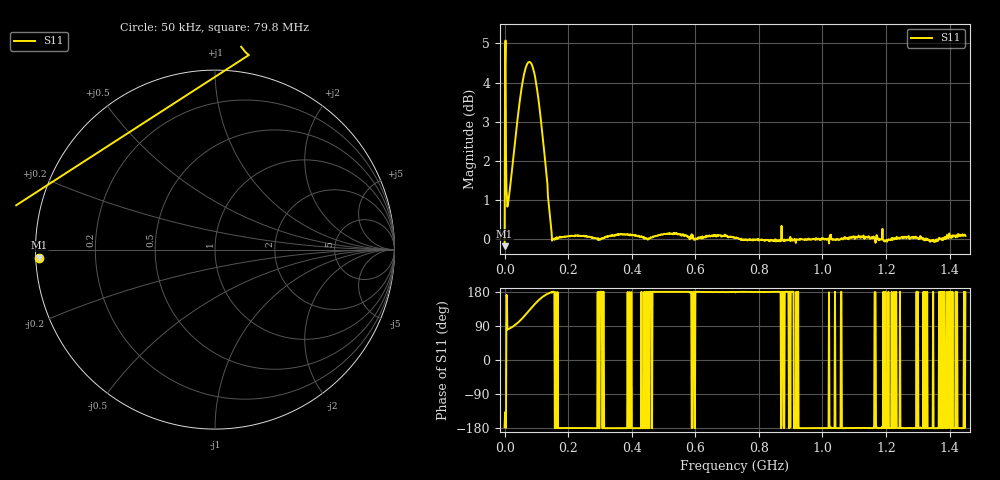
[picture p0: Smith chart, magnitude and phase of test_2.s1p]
! Created with skrf 1.11.0 (http://scikit-rf.org).
# Hz S RI R 50.0
!freq ReS11 ImS11
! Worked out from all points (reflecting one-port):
!   1001 points, 50 kHz to 1.45 GHz, reference 50 ohm
!   lowest |S11| = -0.2 dB at 50 kHz (marker M1), VSWR 98.86, Z = 0.506 - j1.14 ohm
!   phase of S11 starts at -177 deg and turns -4 deg over the sweep
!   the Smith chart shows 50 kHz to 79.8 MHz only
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50000  -0.9789 -0.0448
8749700  0.1891 1.084
1.019965e7  0.1783 1.092
1.16496e7  0.1672 1.103
1.599945e7  0.1352 1.144
2.61491e7  0.0392 1.254
3.48488e7  -0.0821 1.352
4.35485e7  -0.2456 1.435
5.369815e7  -0.4886 1.484
6.38478e7  -0.7585 1.456
7.399745e7  -1.02 1.336
8.7047e7  -1.277 1.07
9.28468e7  -1.347 0.9244
9.86466e7  -1.386 0.7761
1.073463e8  -1.391 0.563
1.17496e8  -1.335 0.3528
1.261956e8  -1.259 0.2125
1.363453e8  -1.132 0.0991
1.43595e8  -1.061 0.0421
1.522948e8  -1.001 0.00085
1.812938e8  -1.007 -0.00664
3.625375e8  -1.014 -0.00362
5.437812e8  -1.016 0.005
7.25025e8  -1.004 0.00754
9.062688e8  -0.996 0.000332
1.087512e9  -1.005 -0.014
1.268756e9  -1.007 -0.0116
1.45e9  -1.01 0.0169
